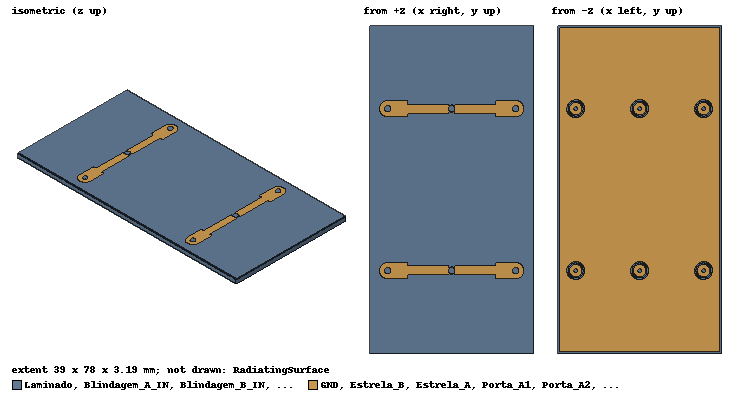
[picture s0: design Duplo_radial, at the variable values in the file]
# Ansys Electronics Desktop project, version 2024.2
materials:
  vacuum: permittivity=1
  ZYF300CA_C: permittivity=2.94 dielectric_loss_tangent=0.0016
  SAC305: permeability=1 conductivity=7575758
  PTFE_UT141: permittivity=2.036 dielectric_loss_tangent=0.0002
  copper: permeability=0.999991 conductivity=58000000
  NiP_vol_nominal: permeability=1 conductivity=1500000
  Ouro_vol_nominal: permeability=1 conductivity=41000000
  Cobre_vol_Groiss: permeability=1 conductivity=28688604

design Duplo_radial (HFSS, HFSS Hybrid Modal Network, model units mm)
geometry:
  Laminado [ZYF300CA_C] = box(corner=(-19.5mm, -39mm, 0mm), size=(39mm, 78mm, 1.52mm))
  GND [Cobre_vol_Groiss] = polyline(z=0mm, xy in mm: (-18.98, -38.48) (18.98, -38.48) (18.98, 38.48) (-18.98, 38.48) (-18.98, -38.48), closed, covered)
  Estrela_B [Cobre_vol_Groiss] = polyline(z=1.52mm, xy in mm: (-15.45269871, 17.33056275) (-15.70107367, 17.3799676) (-15.94087513, 17.46136923) (-16.168, 17.57337482) (-16.37856213, 17.71406793) (-16.56895873, 17.88104127) (-16.73593207, 18.07143787) (-16.87662518, 18.282) (-16.98863077, 18.50912487) (-17.0700324, 18.74892633) (-17.11943725, 18.99730129) (-17.136, 19.25) (-17.11943725, 19.50269871) (-17.0700324, 19.75107367) (-16.98863077, 19.99087513) (-16.87662518, 20.218) (-16.73593207, 20.42856213) (-16.56895873, 20.61895873) (-16.37856213, 20.78593207) (-16.168, 20.92662518) (-15.94087513, 21.03863077) (-15.70107367, 21.1200324) (-15.45269871, 21.16943725) (-15.2, 21.186) (-10.388, 21.186) (-10.388, 20.316) (-0.6, 20.316) (-0.6, 19.86522572) (-0.52353483, 19.93228387) (-0.43, 19.99478185) (-0.32910775, 20.0445364) (-0.22258438, 20.08069621) (-0.11225253, 20.10264258) (0, 20.11) (0.11225253, 20.10264258) (0.22258438, 20.08069621) (0.32910775, 20.0445364) (0.43, 19.99478185) (0.52353483, 19.93228387) (0.6, 19.86522572) (0.6, 20.316) (10.388, 20.316) (10.388, 21.186) (15.2, 21.186) (15.45269871, 21.16943725) (15.70107367, 21.1200324) (15.94087513, 21.03863077) (16.168, 20.92662518) (16.37856213, 20.78593207) (16.56895873, 20.61895873) (16.73593207, 20.42856213) (16.87662518, 20.218) (16.98863077, 19.99087513) (17.0700324, 19.75107367) (17.11943725, 19.50269871) (17.136, 19.25) (17.11943725, 18.99730129) (17.0700324, 18.74892633) (16.98863077, 18.50912487) (16.87662518, 18.282) (16.73593207, 18.07143787) (16.56895873, 17.88104127) (16.37856213, 17.71406793) (16.168, 17.57337482) (15.94087513, 17.46136923) (15.70107367, 17.3799676) (15.45269871, 17.33056275) (15.2, 17.314) (10.388, 17.314) (10.388, 18.184) (0.6, 18.184) (0.6, 18.63477428) (0.52353483, 18.56771613) (0.43, 18.50521815) (0.32910775, 18.4554636) (0.22258438, 18.41930379) (0.11225253, 18.39735742) (0, 18.39) (-0.11225253, 18.39735742) (-0.22258438, 18.41930379) (-0.32910775, 18.4554636) (-0.43, 18.50521815) (-0.52353483, 18.56771613) (-0.6, 18.63477428) (-0.6, 18.184) (-10.388, 18.184) (-10.388, 17.314) (-15.2, 17.314) (-15.2, 17.314) (-15.45269871, 17.33056275), closed, covered)
  Estrela_A [Cobre_vol_Groiss] = polyline(z=1.52mm, xy in mm: (-10.388, -17.314) (-10.388, -18.184) (-0.6, -18.184) (-0.6, -18.63477428) (-0.52353483, -18.56771613) (-0.43, -18.50521815) (-0.32910775, -18.4554636) (-0.22258438, -18.41930379) (-0.11225253, -18.39735742) (0, -18.39) (0.11225253, -18.39735742) (0.22258438, -18.41930379) (0.32910775, -18.4554636) (0.43, -18.50521815) (0.52353483, -18.56771613) (0.6, -18.63477428) (0.6, -18.184) (10.388, -18.184) (10.388, -17.314) (15.2, -17.314) (15.45269871, -17.33056275) (15.70107367, -17.3799676) (15.94087513, -17.46136923) (16.168, -17.57337482) (16.37856213, -17.71406793) (16.56895873, -17.88104127) (16.73593207, -18.07143787) (16.87662518, -18.282) (16.98863077, -18.50912487) (17.0700324, -18.74892633) (17.11943725, -18.99730129) (17.136, -19.25) (17.11943725, -19.50269871) (17.0700324, -19.75107367) (16.98863077, -19.99087513) (16.87662518, -20.218) (16.73593207, -20.42856213) (16.56895873, -20.61895873) (16.37856213, -20.78593207) (16.168, -20.92662518) (15.94087513, -21.03863077) (15.70107367, -21.1200324) (15.45269871, -21.16943725) (15.2, -21.186) (10.388, -21.186) (10.388, -20.316) (0.6, -20.316) (0.6, -19.86522572) (0.52353483, -19.93228387) (0.43, -19.99478185) (0.32910775, -20.0445364) (0.22258438, -20.08069621) (0.11225253, -20.10264258) (0, -20.11) (-0.11225253, -20.10264258) (-0.22258438, -20.08069621) (-0.32910775, -20.0445364) (-0.43, -19.99478185) (-0.52353483, -19.93228387) (-0.6, -19.86522572) (-0.6, -20.316) (-10.388, -20.316) (-10.388, -21.186) (-15.2, -21.186) (-15.45269871, -21.16943725) (-15.70107367, -21.1200324) (-15.94087513, -21.03863077) (-16.168, -20.92662518) (-16.37856213, -20.78593207) (-16.56895873, -20.61895873) (-16.73593207, -20.42856213) (-16.87662518, -20.218) (-16.98863077, -19.99087513) (-17.0700324, -19.75107367) (-17.11943725, -19.50269871) (-17.136, -19.25) (-17.11943725, -18.99730129) (-17.0700324, -18.74892633) (-16.98863077, -18.50912487) (-16.87662518, -18.282) (-16.73593207, -18.07143787) (-16.56895873, -17.88104127) (-16.37856213, -17.71406793) (-16.168, -17.57337482) (-15.94087513, -17.46136923) (-15.70107367, -17.3799676) (-15.45269871, -17.33056275) (-15.2, -17.314) (-15.2, -17.314) (-10.388, -17.314), closed, covered)
  Abertura_A_IN = circle(normal=Z, centre=(0mm, -19.25mm, 0mm), radius=1.515mm, segments=24)
  Pino_A_IN [copper] = cylinder(axis=Z, base_centre=(0mm, -19.25mm, 0mm), radius=0.525mm, height=1.52mm, segments=24)
  Anel_A_IN [Cobre_vol_Groiss] = circle(normal=Z, centre=(0mm, -19.25mm, 0mm), radius=0.73mm, segments=24)
  Blindagem_A_IN [copper] = cylinder(axis=Z, base_centre=(0mm, -19.25mm, -1.5mm), radius=1.7905mm, height=1.5mm, segments=24)
  PTFE_A_IN [PTFE_UT141] = cylinder(axis=Z, base_centre=(0mm, -19.25mm, -1.5mm), radius=1.515mm, height=1.5mm, segments=24)
  PTFE_A_IN_1 = PTFE_A_IN.copy()
  Blindagem_A_IN.subtract(PTFE_A_IN_1)
  Central_A_IN [copper] = cylinder(axis=Z, base_centre=(0mm, -19.25mm, -1.5mm), radius=0.45975mm, height=1.5mm, segments=24)
  Central_A_IN_1 = Central_A_IN.copy()
  PTFE_A_IN.subtract(Central_A_IN_1)
  Solda_ext_A_IN [SAC305] = cylinder(axis=Z, base_centre=(0mm, -19.25mm, -0.18mm), radius=2.13mm, height=0.18mm, segments=24)
  Recorte_ext_A_IN = cylinder(axis=Z, base_centre=(0mm, -19.25mm, -0.18mm), radius=1.7905mm, height=0.18mm, segments=24)
  Solda_ext_A_IN.subtract(Recorte_ext_A_IN)
  Solda_top_A_IN [SAC305] = cylinder(axis=Z, base_centre=(0mm, -19.25mm, 1.52mm), radius=0.74mm, height=0.17mm, segments=24)
  Abertura_A1 = circle(normal=Z, centre=(-15.2mm, -19.25mm, 0mm), radius=1.515mm, segments=24)
  Pino_A1 [copper] = cylinder(axis=Z, base_centre=(-15.2mm, -19.25mm, 0mm), radius=0.525mm, height=1.52mm, segments=24)
  Anel_A1 [Cobre_vol_Groiss] = circle(normal=Z, centre=(-15.2mm, -19.25mm, 0mm), radius=0.73mm, segments=24)
  Blindagem_A1 [copper] = cylinder(axis=Z, base_centre=(-15.2mm, -19.25mm, -1.5mm), radius=1.7905mm, height=1.5mm, segments=24)
  PTFE_A1 [PTFE_UT141] = cylinder(axis=Z, base_centre=(-15.2mm, -19.25mm, -1.5mm), radius=1.515mm, height=1.5mm, segments=24)
  PTFE_A1_1 = PTFE_A1.copy()
  Blindagem_A1.subtract(PTFE_A1_1)
  Central_A1 [copper] = cylinder(axis=Z, base_centre=(-15.2mm, -19.25mm, -1.5mm), radius=0.45975mm, height=1.5mm, segments=24)
  Central_A1_1 = Central_A1.copy()
  PTFE_A1.subtract(Central_A1_1)
  Solda_ext_A1 [SAC305] = cylinder(axis=Z, base_centre=(-15.2mm, -19.25mm, -0.18mm), radius=2.13mm, height=0.18mm, segments=24)
  Recorte_ext_A1 = cylinder(axis=Z, base_centre=(-15.2mm, -19.25mm, -0.18mm), radius=1.7905mm, height=0.18mm, segments=24)
  Solda_ext_A1.subtract(Recorte_ext_A1)
  Solda_top_A1 [SAC305] = cylinder(axis=Z, base_centre=(-15.2mm, -19.25mm, 1.52mm), radius=0.74mm, height=0.17mm, segments=24)
  Abertura_A2 = circle(normal=Z, centre=(15.2mm, -19.25mm, 0mm), radius=1.515mm, segments=24)
  Pino_A2 [copper] = cylinder(axis=Z, base_centre=(15.2mm, -19.25mm, 0mm), radius=0.525mm, height=1.52mm, segments=24)
  Anel_A2 [Cobre_vol_Groiss] = circle(normal=Z, centre=(15.2mm, -19.25mm, 0mm), radius=0.73mm, segments=24)
  Blindagem_A2 [copper] = cylinder(axis=Z, base_centre=(15.2mm, -19.25mm, -1.5mm), radius=1.7905mm, height=1.5mm, segments=24)
  PTFE_A2 [PTFE_UT141] = cylinder(axis=Z, base_centre=(15.2mm, -19.25mm, -1.5mm), radius=1.515mm, height=1.5mm, segments=24)
  PTFE_A2_1 = PTFE_A2.copy()
  Blindagem_A2.subtract(PTFE_A2_1)
  Central_A2 [copper] = cylinder(axis=Z, base_centre=(15.2mm, -19.25mm, -1.5mm), radius=0.45975mm, height=1.5mm, segments=24)
  Central_A2_1 = Central_A2.copy()
  PTFE_A2.subtract(Central_A2_1)
  Solda_ext_A2 [SAC305] = cylinder(axis=Z, base_centre=(15.2mm, -19.25mm, -0.18mm), radius=2.13mm, height=0.18mm, segments=24)
  Recorte_ext_A2 = cylinder(axis=Z, base_centre=(15.2mm, -19.25mm, -0.18mm), radius=1.7905mm, height=0.18mm, segments=24)
  Solda_ext_A2.subtract(Recorte_ext_A2)
  Solda_top_A2 [SAC305] = cylinder(axis=Z, base_centre=(15.2mm, -19.25mm, 1.52mm), radius=0.74mm, height=0.17mm, segments=24)
  Abertura_B_IN = circle(normal=Z, centre=(0mm, 19.25mm, 0mm), radius=1.515mm, segments=24)
  Pino_B_IN [copper] = cylinder(axis=Z, base_centre=(0mm, 19.25mm, 0mm), radius=0.525mm, height=1.52mm, segments=24)
  Anel_B_IN [Cobre_vol_Groiss] = circle(normal=Z, centre=(0mm, 19.25mm, 0mm), radius=0.73mm, segments=24)
  Blindagem_B_IN [copper] = cylinder(axis=Z, base_centre=(0mm, 19.25mm, -1.5mm), radius=1.7905mm, height=1.5mm, segments=24)
  PTFE_B_IN [PTFE_UT141] = cylinder(axis=Z, base_centre=(0mm, 19.25mm, -1.5mm), radius=1.515mm, height=1.5mm, segments=24)
  PTFE_B_IN_1 = PTFE_B_IN.copy()
  Blindagem_B_IN.subtract(PTFE_B_IN_1)
  Central_B_IN [copper] = cylinder(axis=Z, base_centre=(0mm, 19.25mm, -1.5mm), radius=0.45975mm, height=1.5mm, segments=24)
  Central_B_IN_1 = Central_B_IN.copy()
  PTFE_B_IN.subtract(Central_B_IN_1)
  Solda_ext_B_IN [SAC305] = cylinder(axis=Z, base_centre=(0mm, 19.25mm, -0.18mm), radius=2.13mm, height=0.18mm, segments=24)
  Recorte_ext_B_IN = cylinder(axis=Z, base_centre=(0mm, 19.25mm, -0.18mm), radius=1.7905mm, height=0.18mm, segments=24)
  Solda_ext_B_IN.subtract(Recorte_ext_B_IN)
  Solda_top_B_IN [SAC305] = cylinder(axis=Z, base_centre=(0mm, 19.25mm, 1.52mm), radius=0.74mm, height=0.17mm, segments=24)
  Abertura_B1 = circle(normal=Z, centre=(-15.2mm, 19.25mm, 0mm), radius=1.515mm, segments=24)
  Pino_B1 [copper] = cylinder(axis=Z, base_centre=(-15.2mm, 19.25mm, 0mm), radius=0.525mm, height=1.52mm, segments=24)
  Anel_B1 [Cobre_vol_Groiss] = circle(normal=Z, centre=(-15.2mm, 19.25mm, 0mm), radius=0.73mm, segments=24)
  Blindagem_B1 [copper] = cylinder(axis=Z, base_centre=(-15.2mm, 19.25mm, -1.5mm), radius=1.7905mm, height=1.5mm, segments=24)
  PTFE_B1 [PTFE_UT141] = cylinder(axis=Z, base_centre=(-15.2mm, 19.25mm, -1.5mm), radius=1.515mm, height=1.5mm, segments=24)
  PTFE_B1_1 = PTFE_B1.copy()
  Blindagem_B1.subtract(PTFE_B1_1)
  Central_B1 [copper] = cylinder(axis=Z, base_centre=(-15.2mm, 19.25mm, -1.5mm), radius=0.45975mm, height=1.5mm, segments=24)
  Central_B1_1 = Central_B1.copy()
  PTFE_B1.subtract(Central_B1_1)
  Solda_ext_B1 [SAC305] = cylinder(axis=Z, base_centre=(-15.2mm, 19.25mm, -0.18mm), radius=2.13mm, height=0.18mm, segments=24)
  Recorte_ext_B1 = cylinder(axis=Z, base_centre=(-15.2mm, 19.25mm, -0.18mm), radius=1.7905mm, height=0.18mm, segments=24)
  Solda_ext_B1.subtract(Recorte_ext_B1)
  Solda_top_B1 [SAC305] = cylinder(axis=Z, base_centre=(-15.2mm, 19.25mm, 1.52mm), radius=0.74mm, height=0.17mm, segments=24)
  Abertura_B2 = circle(normal=Z, centre=(15.2mm, 19.25mm, 0mm), radius=1.515mm, segments=24)
  Pino_B2 [copper] = cylinder(axis=Z, base_centre=(15.2mm, 19.25mm, 0mm), radius=0.525mm, height=1.52mm, segments=24)
  Anel_B2 [Cobre_vol_Groiss] = circle(normal=Z, centre=(15.2mm, 19.25mm, 0mm), radius=0.73mm, segments=24)
  Blindagem_B2 [copper] = cylinder(axis=Z, base_centre=(15.2mm, 19.25mm, -1.5mm), radius=1.7905mm, height=1.5mm, segments=24)
  PTFE_B2 [PTFE_UT141] = cylinder(axis=Z, base_centre=(15.2mm, 19.25mm, -1.5mm), radius=1.515mm, height=1.5mm, segments=24)
  PTFE_B2_1 = PTFE_B2.copy()
  Blindagem_B2.subtract(PTFE_B2_1)
  Central_B2 [copper] = cylinder(axis=Z, base_centre=(15.2mm, 19.25mm, -1.5mm), radius=0.45975mm, height=1.5mm, segments=24)
  Central_B2_1 = Central_B2.copy()
  PTFE_B2.subtract(Central_B2_1)
  Solda_ext_B2 [SAC305] = cylinder(axis=Z, base_centre=(15.2mm, 19.25mm, -0.18mm), radius=2.13mm, height=0.18mm, segments=24)
  Recorte_ext_B2 = cylinder(axis=Z, base_centre=(15.2mm, 19.25mm, -0.18mm), radius=1.7905mm, height=0.18mm, segments=24)
  Solda_ext_B2.subtract(Recorte_ext_B2)
  Solda_top_B2 [SAC305] = cylinder(axis=Z, base_centre=(15.2mm, 19.25mm, 1.52mm), radius=0.74mm, height=0.17mm, segments=24)
  GND.subtract(Abertura_A_IN, Abertura_A1, Abertura_A2, Abertura_B_IN, Abertura_B1, Abertura_B2)
  Pino_A_IN_1 = Pino_A_IN.copy()
  Pino_A1_1 = Pino_A1.copy()
  Pino_A2_1 = Pino_A2.copy()
  Pino_B_IN_1 = Pino_B_IN.copy()
  Pino_B1_1 = Pino_B1.copy()
  Pino_B2_1 = Pino_B2.copy()
  Laminado.subtract(Pino_A_IN_1, Pino_A1_1, Pino_A2_1, Pino_B_IN_1, Pino_B1_1, Pino_B2_1)
  Porta_A_IN = circle(normal=Z, centre=(0mm, -19.25mm, -1.5mm), radius=1.515mm, segments=24)
  Buraco_A_IN = circle(normal=Z, centre=(0mm, -19.25mm, -1.5mm), radius=0.45975mm, segments=24)
  Porta_A_IN.subtract(Buraco_A_IN)
  Porta_A1 = circle(normal=Z, centre=(-15.2mm, -19.25mm, -1.5mm), radius=1.515mm, segments=24)
  Buraco_A1 = circle(normal=Z, centre=(-15.2mm, -19.25mm, -1.5mm), radius=0.45975mm, segments=24)
  Porta_A1.subtract(Buraco_A1)
  Porta_A2 = circle(normal=Z, centre=(15.2mm, -19.25mm, -1.5mm), radius=1.515mm, segments=24)
  Buraco_A2 = circle(normal=Z, centre=(15.2mm, -19.25mm, -1.5mm), radius=0.45975mm, segments=24)
  Porta_A2.subtract(Buraco_A2)
  Porta_B_IN = circle(normal=Z, centre=(0mm, 19.25mm, -1.5mm), radius=1.515mm, segments=24)
  Buraco_B_IN = circle(normal=Z, centre=(0mm, 19.25mm, -1.5mm), radius=0.45975mm, segments=24)
  Porta_B_IN.subtract(Buraco_B_IN)
  Porta_B1 = circle(normal=Z, centre=(-15.2mm, 19.25mm, -1.5mm), radius=1.515mm, segments=24)
  Buraco_B1 = circle(normal=Z, centre=(-15.2mm, 19.25mm, -1.5mm), radius=0.45975mm, segments=24)
  Porta_B1.subtract(Buraco_B1)
  Porta_B2 = circle(normal=Z, centre=(15.2mm, 19.25mm, -1.5mm), radius=1.515mm, segments=24)
  Buraco_B2 = circle(normal=Z, centre=(15.2mm, 19.25mm, -1.5mm), radius=0.45975mm, segments=24)
  Porta_B2.subtract(Buraco_B2)
  RadiatingSurface [vacuum] = region(absolute_offset=19.646365mm on all sides)
  Anel_A1.thicken(-0.035mm)
  Central_A1_2 = Central_A1.copy()
  Anel_A1.subtract(Central_A1_2)
  Anel_A2.thicken(-0.035mm)
  Central_A2_2 = Central_A2.copy()
  Anel_A2.subtract(Central_A2_2)
  Anel_A_IN.thicken(-0.035mm)
  Central_A_IN_2 = Central_A_IN.copy()
  Anel_A_IN.subtract(Central_A_IN_2)
  Anel_B1.thicken(-0.035mm)
  Central_B1_2 = Central_B1.copy()
  Anel_B1.subtract(Central_B1_2)
  Anel_B2.thicken(-0.035mm)
  Central_B2_2 = Central_B2.copy()
  Anel_B2.subtract(Central_B2_2)
  Anel_B_IN.thicken(-0.035mm)
  Central_B_IN_2 = Central_B_IN.copy()
  Anel_B_IN.subtract(Central_B_IN_2)
  Estrela_A.thicken(-0.035mm)
  Solda_top_A_IN_1 = Solda_top_A_IN.copy()
  Solda_top_A1_1 = Solda_top_A1.copy()
  Solda_top_A2_1 = Solda_top_A2.copy()
  Estrela_A.subtract(Solda_top_A_IN_1, Solda_top_A1_1, Solda_top_A2_1)
  Estrela_B.thicken(-0.035mm)
  Solda_top_B_IN_1 = Solda_top_B_IN.copy()
  Solda_top_B1_1 = Solda_top_B1.copy()
  Solda_top_B2_1 = Solda_top_B2.copy()
  Estrela_B.subtract(Solda_top_B_IN_1, Solda_top_B1_1, Solda_top_B2_1)
  GND.thicken(-0.035mm)
  Blindagem_A_IN_1 = Blindagem_A_IN.copy()
  Solda_ext_A_IN_1 = Solda_ext_A_IN.copy()
  Blindagem_A1_1 = Blindagem_A1.copy()
  Solda_ext_A1_1 = Solda_ext_A1.copy()
  Blindagem_A2_1 = Blindagem_A2.copy()
  Solda_ext_A2_1 = Solda_ext_A2.copy()
  Blindagem_B_IN_1 = Blindagem_B_IN.copy()
  Solda_ext_B_IN_1 = Solda_ext_B_IN.copy()
  Blindagem_B1_1 = Blindagem_B1.copy()
  Solda_ext_B1_1 = Solda_ext_B1.copy()
  Blindagem_B2_1 = Blindagem_B2.copy()
  Solda_ext_B2_1 = Solda_ext_B2.copy()
  GND.subtract(Blindagem_A_IN_1, Solda_ext_A_IN_1, Blindagem_A1_1, Solda_ext_A1_1, Blindagem_A2_1, Solda_ext_A2_1, Blindagem_B_IN_1, Solda_ext_B_IN_1, Blindagem_B1_1, Solda_ext_B1_1, Blindagem_B2_1, Solda_ext_B2_1)
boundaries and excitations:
  Open1: Radiation Objects=RadiatingSurface
  ENIG_faces_expostas: Layered Impedance Faces=Anel_A1.face(at (-14.5313, -18.973, -0.0175), at (-14.6258, -18.8094, -0.0175), at (-14.7594, -18.6758, -0.0175), at (-14.923, -18.5813, -0.0175), at (-15.1055, -18.5324, -0.0175), at (-15.2945, -18.5324, -0.0175), at (-15.477, -18.5813, -0.0175), at (-15.6406, -18.6758, -0.0175), at (-15.7742, -18.8094, -0.0175), at (-15.8687, -18.973, -0.0175), at (-15.9176, -19.1555, -0.0175), at (-15.9176, -19.3445, -0.0175)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) Anel_A2.face(at (15.8687, -18.973, -0.0175), at (15.7742, -18.8094, -0.0175), at (15.6406, -18.6758, -0.0175), at (15.477, -18.5813, -0.0175), at (15.2945, -18.5324, -0.0175), at (15.1055, -18.5324, -0.0175), at (14.923, -18.5813, -0.0175), at (14.7594, -18.6758, -0.0175), at (14.6258, -18.8094, -0.0175), at (14.5313, -18.973, -0.0175), at (14.4824, -19.1555, -0.0175), at (14.4824, -19.3445, -0.0175)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) Anel_A_IN.face(at (0.668662, -18.973, -0.0175), at (0.574193, -18.8094, -0.0175), at (0.440594, -18.6758, -0.0175), at (0.276969, -18.5813, -0.0175), at (0.094469, -18.5324, -0.0175), at (-0.094469, -18.5324, -0.0175), at (-0.276969, -18.5813, -0.0175), at (-0.440594, -18.6758, -0.0175), at (-0.574193, -18.8094, -0.0175), at (-0.668662, -18.973, -0.0175), at (-0.717563, -19.1555, -0.0175), at (-0.717563, -19.3445, -0.0175)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) Anel_B1.face(at (-14.5313, 19.527, -0.0175), at (-14.6258, 19.6906, -0.0175), at (-14.7594, 19.8242, -0.0175), at (-14.923, 19.9187, -0.0175), at (-15.1055, 19.9676, -0.0175), at (-15.2945, 19.9676, -0.0175), at (-15.477, 19.9187, -0.0175), at (-15.6406, 19.8242, -0.0175), at (-15.7742, 19.6906, -0.0175), at (-15.8687, 19.527, -0.0175), at (-15.9176, 19.3445, -0.0175), at (-15.9176, 19.1555, -0.0175)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) Anel_B2.face(at (15.8687, 19.527, -0.0175), at (15.7742, 19.6906, -0.0175), at (15.6406, 19.8242, -0.0175), at (15.477, 19.9187, -0.0175), at (15.2945, 19.9676, -0.0175), at (15.1055, 19.9676, -0.0175), at (14.923, 19.9187, -0.0175), at (14.7594, 19.8242, -0.0175), at (14.6258, 19.6906, -0.0175), at (14.5313, 19.527, -0.0175), at (14.4824, 19.3445, -0.0175), at (14.4824, 19.1555, -0.0175)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) Anel_B_IN.face(at (0.668662, 19.527, -0.0175), at (0.574193, 19.6906, -0.0175), at (0.440594, 19.8242, -0.0175), at (0.276969, 19.9187, -0.0175), at (0.094469, 19.9676, -0.0175), at (-0.094469, 19.9676, -0.0175), at (-0.276969, 19.9187, -0.0175), at (-0.440594, 19.8242, -0.0175), at (-0.574193, 19.6906, -0.0175), at (-0.668662, 19.527, -0.0175), at (-0.717563, 19.3445, -0.0175), at (-0.717563, 19.1555, -0.0175)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) Estrela_A.face(at (-5.494, -18.184, 1.5375), at (-0.6, -18.4094, 1.5375), at (-0.561767, -18.6012, 1.5375), at (-0.476767, -18.5365, 1.5375), at (-0.379554, -18.4803, 1.5375), at (-0.275846, -18.4374, 1.5375), at (-0.167418, -18.4083, 1.5375), at (-0.0561263, -18.3937, 1.5375), at (0.0561263, -18.3937, 1.5375), at (0.167418, -18.4083, 1.5375), at (0.275846, -18.4374, 1.5375), at (0.379554, -18.4803, 1.5375)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) Estrela_B.face(at (-15.821, 17.4207, 1.5375), at (-16.0544, 17.5174, 1.5375), at (-16.2733, 17.6437, 1.5375), at (-16.4738, 17.7976, 1.5375), at (-16.6524, 17.9762, 1.5375), at (-16.8063, 18.1767, 1.5375), at (-16.9326, 18.3956, 1.5375), at (-17.0293, 18.629, 1.5375), at (-17.0947, 18.8731, 1.5375), at (-17.1277, 19.1237, 1.5375), at (-17.1277, 19.3763, 1.5375), at (-17.0947, 19.6269, 1.5375)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) GND.face(at (18.98, 0, -0.0175), at (0, 38.48, -0.0175), at (-18.98, 0, -0.0175), at (0, -38.48, -0.0175), at (0, 0, -0.035), at (2.09371, -19.5256, -0.0175), at (1.95103, -20.0581, -0.0175), at (1.67539, -20.5356, -0.0175), at (1.28557, -20.9254, -0.0175), at (0.808142, -21.201, -0.0175), at (0.275642, -21.3437, -0.0175), at (-0.275642, -21.3437, -0.0175)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) Frequency=0GHz Layers{Layer1{Thickness=0.0254um Material=Ouro_vol_nominal} Layer2{Thickness=4.5um Material=NiP_vol_nominal} Layer3{LayerType=1 Thickness=0 Material=Cobre_vol_Groiss}}
  A_IN: Lumped Port Objects=Porta_A_IN LumpedPortType=Modal Modes{Mode1{IntLine{(0.45975, -19.25, -1.5) -> (1.515, -19.25, -1.5)} CharImp=Zpi RenormImp=50ohm}} Impedance=50ohm
  A1: Lumped Port Objects=Porta_A1 LumpedPortType=Modal Modes{Mode1{IntLine{(-14.74025, -19.25, -1.5) -> (-13.685, -19.25, -1.5)} CharImp=Zpi RenormImp=50ohm}} Impedance=50ohm
  A2: Lumped Port Objects=Porta_A2 LumpedPortType=Modal Modes{Mode1{IntLine{(15.65975, -19.25, -1.5) -> (16.715, -19.25, -1.5)} CharImp=Zpi RenormImp=50ohm}} Impedance=50ohm
  B_IN: Lumped Port Objects=Porta_B_IN LumpedPortType=Modal Modes{Mode1{IntLine{(0.45975, 19.25, -1.5) -> (1.515, 19.25, -1.5)} CharImp=Zpi RenormImp=50ohm}} Impedance=50ohm
  B1: Lumped Port Objects=Porta_B1 LumpedPortType=Modal Modes{Mode1{IntLine{(-14.74025, 19.25, -1.5) -> (-13.685, 19.25, -1.5)} CharImp=Zpi RenormImp=50ohm}} Impedance=50ohm
  B2: Lumped Port Objects=Porta_B2 LumpedPortType=Modal Modes{Mode1{IntLine{(15.65975, 19.25, -1.5) -> (16.715, 19.25, -1.5)} CharImp=Zpi RenormImp=50ohm}} Impedance=50ohm
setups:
  Divisor: HfssDriven Frequency=5.17GHz MaxDeltaS=0.008 MaximumPasses=16 MinimumPasses=3 MinimumConvergedPasses=2 PercentRefinement=24 BasisOrder=1 PortAccuracy=2 DrivenSolverType="Direct Solver"
    sweep Banda: 5090MHz to 5250MHz step 10MHz; Type=Discrete
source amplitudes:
  A_IN:1: 1W 0deg
  A1:1, A2:1, B_IN:1, B1:1, B2:1: 0W 0deg
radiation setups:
  3D: Infinite Sphere Theta=0deg..180deg step 2deg Phi=-180deg..180deg step 2deg
  Elevation: Infinite Sphere Theta=-180deg..180deg step 1deg Phi=0deg..90deg step 90deg
  Azimuth: Infinite Sphere Theta=90deg..90deg step 0deg Phi=-180deg..180deg step 1deg
